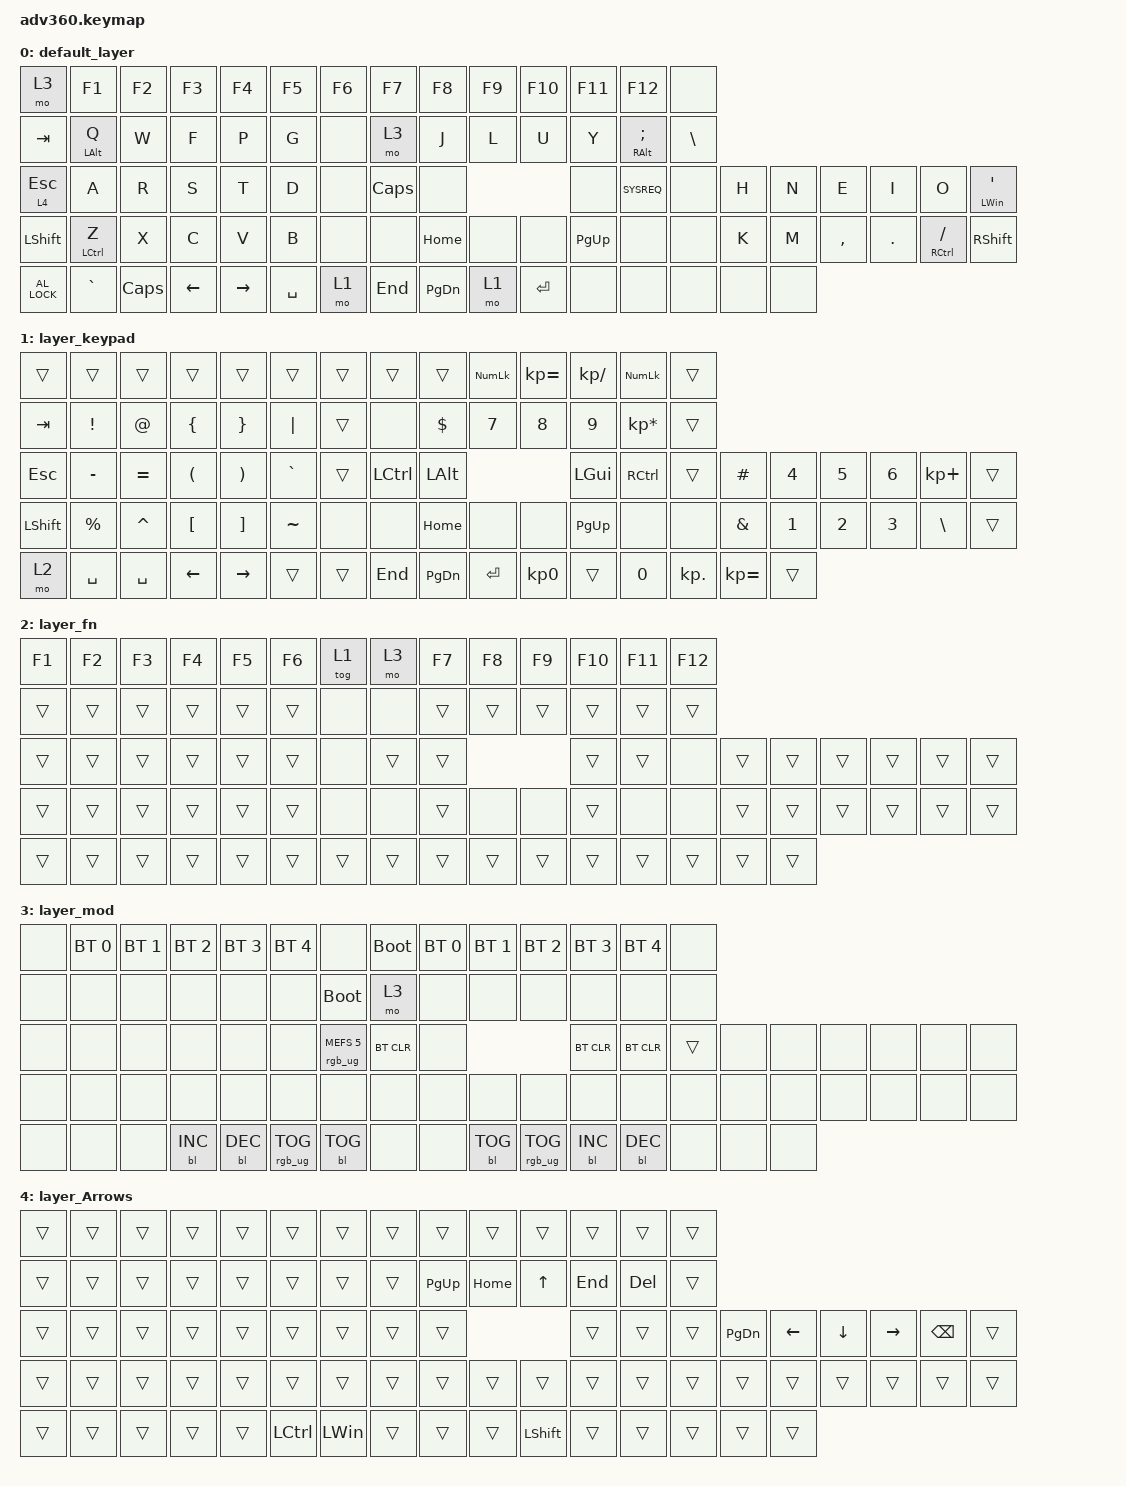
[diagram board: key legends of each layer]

/*
 * Copyright (c) 2020 The ZMK Contributors
 *
 * SPDX-License-Identifier: MIT
 */


/* THIS FILE WAS GENERATED!
 *
 * This file was generated automatically. You may or may not want to
 * edit it directly.
 */

#include <behaviors.dtsi>
#include <dt-bindings/zmk/keys.h>
#include <dt-bindings/zmk/bt.h>
#include <dt-bindings/zmk/rgb.h>
#include <dt-bindings/zmk/backlight.h>

/ {
  behaviors {
    #include "macros.dtsi"
    #include "version.dtsi"

    hm: homerow_mods {
        compatible = "zmk,behavior-hold-tap";
        label = "HOMEROW_MODS";
        #binding-cells = <2>;
        tapping-term-ms = <200>;
        quick_tap_ms = <175>;
        flavor = "tap-preferred";
        bindings = <&kp>, <&kp>;
    };
  };

    keymap {
        compatible = "zmk,keymap";


        default_layer {
            bindings = <
         &mo 3              &kp F1    &kp F2    &kp F3     &kp F4     &kp F5            &kp F6    &kp F7     &kp F8  &kp F9    &kp F10    &kp F11        &kp F12     &none
       &kp TAB      &mt LEFT_ALT Q     &kp W     &kp F      &kp P      &kp G             &none     &mo 3      &kp J   &kp L      &kp U      &kp Y  &mt RALT SEMI  &kp BSLH
     &lt 4 ESC               &kp A     &kp R     &kp S      &kp T      &kp D             &none  &kp CAPS      &none                         &none     &kp SYSREQ     &none   &kp H   &kp N      &kp E    &kp I                    &kp O  &mt LEFT_WIN APOS
     &kp LSHFT  &mt LEFT_CONTROL Z     &kp X     &kp C      &kp V      &kp B             &none     &none   &kp HOME   &none      &none  &kp PG_UP          &none     &none   &kp K   &kp M  &kp COMMA  &kp DOT  &mt RIGHT_CONTROL SLASH          &kp RSHFT
 &kp C_AL_LOCK           &kp GRAVE  &kp CAPS  &kp LEFT  &kp RIGHT  &kp SPACE             &mo 1   &kp END  &kp PG_DN   &mo 1  &kp ENTER      &none          &none     &none   &none   &none
            >;
        };

        layer_keypad {
            bindings = <
    &trans       &trans       &trans                &trans                 &trans     &trans            &trans     &trans      &trans    &kp KP_NUM  &kp KP_EQUAL  &kp KP_DIVIDE   &kp KP_NUMLOCK      &trans
   &kp TAB     &kp EXCL  &kp AT_SIGN        &kp LEFT_BRACE        &kp RIGHT_BRACE   &kp PIPE            &trans      &none  &kp DOLLAR  &kp NUMBER_7  &kp NUMBER_8   &kp NUMBER_9  &kp KP_ASTERISK      &trans
   &kp ESC    &kp MINUS    &kp EQUAL  &kp LEFT_PARENTHESIS  &kp RIGHT_PARENTHESIS  &kp GRAVE            &trans  &kp LCTRL    &kp LALT                                   &kp LGUI        &kp RCTRL      &trans      &kp POUND  &kp NUMBER_4  &kp NUMBER_5  &kp NUMBER_6    &kp KP_PLUS  &trans
 &kp LSHFT  &kp PERCENT    &kp CARET      &kp LEFT_BRACKET      &kp RIGHT_BRACKET  &kp TILDE             &none      &none    &kp HOME         &none         &none      &kp PG_UP            &none       &none  &kp AMPERSAND  &kp NUMBER_1  &kp NUMBER_2  &kp NUMBER_3  &kp BACKSLASH  &trans
     &mo 2    &kp SPACE    &kp SPACE              &kp LEFT              &kp RIGHT     &trans            &trans    &kp END   &kp PG_DN     &kp ENTER     &kp KP_N0         &trans     &kp NUMBER_0  &kp KP_DOT   &kp KP_EQUAL        &trans
            >;
        };

        layer_fn {
            bindings = <
 &kp F1  &kp F2  &kp F3  &kp F4  &kp F5  &kp F6            &tog 1   &mo 3  &kp F7  &kp F8  &kp F9  &kp F10  &kp F11  &kp F12
 &trans  &trans  &trans  &trans  &trans  &trans             &none   &none  &trans  &trans  &trans   &trans   &trans   &trans
 &trans  &trans  &trans  &trans  &trans  &trans             &none  &trans  &trans                   &trans   &trans    &none  &trans  &trans  &trans  &trans  &trans  &trans
 &trans  &trans  &trans  &trans  &trans  &trans             &none   &none  &trans   &none   &none   &trans    &none    &none  &trans  &trans  &trans  &trans  &trans  &trans
 &trans  &trans  &trans  &trans  &trans  &trans            &trans  &trans  &trans  &trans  &trans   &trans   &trans   &trans  &trans  &trans
            >;
        };

        layer_mod {
            bindings = <
  &none  &bt BT_SEL 0  &bt BT_SEL 1  &bt BT_SEL 2  &bt BT_SEL 3     &bt BT_SEL 4                             &none  &bootloader  &bt BT_SEL 0  &bt BT_SEL 1     &bt BT_SEL 2  &bt BT_SEL 3  &bt BT_SEL 4   &none
  &none         &none         &none         &none         &none            &none                       &bootloader        &mo 3         &none         &none            &none         &none         &none   &none
  &none         &none         &none         &none         &none            &none            &rgb_ug RGB_MEFS_CMD 5   &bt BT_CLR         &none                                   &bt BT_CLR    &bt BT_CLR  &trans   &none   &none   &none   &none   &none   &none
  &none         &none         &none         &none         &none            &none                             &none        &none         &none         &none            &none         &none         &none   &none   &none   &none   &none   &none   &none   &none
  &none         &none         &none    &bl BL_INC    &bl BL_DEC  &rgb_ug RGB_TOG                        &bl BL_TOG        &none         &none    &bl BL_TOG  &rgb_ug RGB_TOG    &bl BL_INC    &bl BL_DEC   &none   &none   &none
            >;
        };

        layer_Arrows {
            bindings = <
 &trans  &trans  &trans  &trans  &trans            &trans                  &trans  &trans     &trans    &trans        &trans   &trans   &trans  &trans
 &trans  &trans  &trans  &trans  &trans            &trans                  &trans  &trans  &kp PG_UP  &kp HOME  &kp UP_ARROW  &kp END  &kp DEL  &trans
 &trans  &trans  &trans  &trans  &trans            &trans                  &trans  &trans     &trans                           &trans   &trans  &trans  &kp PG_DN  &kp LEFT  &kp DOWN  &kp RIGHT  &kp BACKSPACE  &trans
 &trans  &trans  &trans  &trans  &trans            &trans                  &trans  &trans     &trans    &trans        &trans   &trans   &trans  &trans     &trans    &trans    &trans     &trans         &trans  &trans
 &trans  &trans  &trans  &trans  &trans  &kp LEFT_CONTROL            &kp LEFT_WIN  &trans     &trans    &trans    &kp LSHIFT   &trans   &trans  &trans     &trans    &trans
            >;
        };

    };
};
